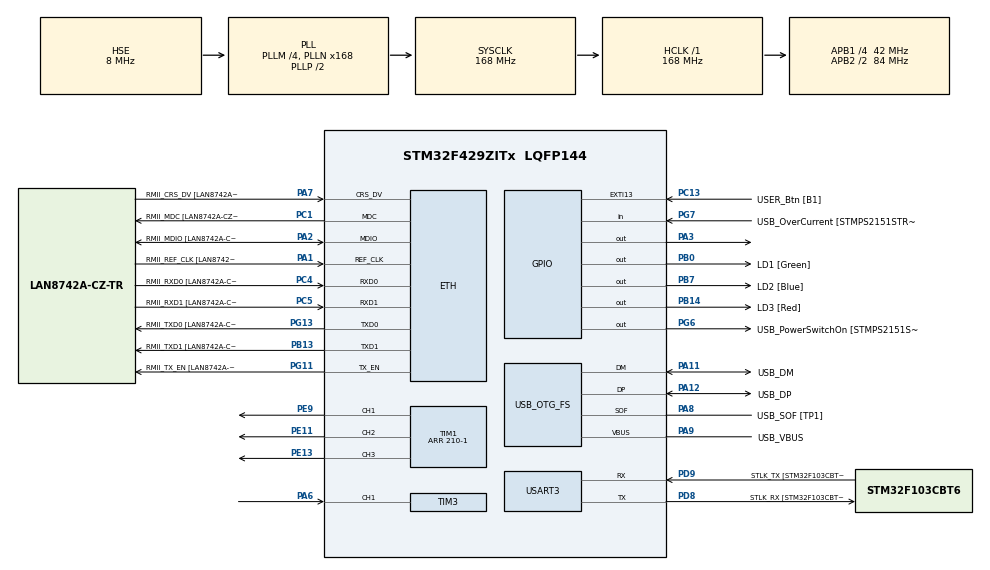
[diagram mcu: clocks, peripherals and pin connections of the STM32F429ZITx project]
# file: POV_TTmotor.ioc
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Dma.Request0=TIM1_CH1
Dma.Request1=TIM1_CH2
Dma.Request2=TIM1_CH3
Dma.TIM1_CH1.0.Direction=DMA_MEMORY_TO_PERIPH
Dma.TIM1_CH1.0.FIFOMode=DMA_FIFOMODE_DISABLE
Dma.TIM1_CH1.0.Instance=DMA2_Stream1
Dma.TIM1_CH1.0.MemDataAlignment=DMA_MDATAALIGN_HALFWORD
Dma.TIM1_CH1.0.MemInc=DMA_MINC_ENABLE
Dma.TIM1_CH1.0.Mode=DMA_NORMAL
Dma.TIM1_CH1.0.PeriphDataAlignment=DMA_PDATAALIGN_HALFWORD
Dma.TIM1_CH1.0.PeriphInc=DMA_PINC_DISABLE
Dma.TIM1_CH1.0.Priority=DMA_PRIORITY_LOW
Dma.TIM1_CH2.1.Direction=DMA_MEMORY_TO_PERIPH
Dma.TIM1_CH2.1.FIFOMode=DMA_FIFOMODE_DISABLE
Dma.TIM1_CH2.1.Instance=DMA2_Stream2
Dma.TIM1_CH2.1.MemDataAlignment=DMA_MDATAALIGN_HALFWORD
Dma.TIM1_CH2.1.MemInc=DMA_MINC_ENABLE
Dma.TIM1_CH2.1.Mode=DMA_NORMAL
Dma.TIM1_CH2.1.PeriphDataAlignment=DMA_PDATAALIGN_HALFWORD
Dma.TIM1_CH2.1.PeriphInc=DMA_PINC_DISABLE
Dma.TIM1_CH2.1.Priority=DMA_PRIORITY_LOW
Dma.TIM1_CH3.2.Direction=DMA_MEMORY_TO_PERIPH
Dma.TIM1_CH3.2.FIFOMode=DMA_FIFOMODE_DISABLE
Dma.TIM1_CH3.2.Instance=DMA2_Stream6
Dma.TIM1_CH3.2.MemDataAlignment=DMA_MDATAALIGN_HALFWORD
Dma.TIM1_CH3.2.MemInc=DMA_MINC_ENABLE
Dma.TIM1_CH3.2.Mode=DMA_NORMAL
Dma.TIM1_CH3.2.PeriphDataAlignment=DMA_PDATAALIGN_HALFWORD
Dma.TIM1_CH3.2.PeriphInc=DMA_PINC_DISABLE
Dma.TIM1_CH3.2.Priority=DMA_PRIORITY_LOW
ETH.MediaInterface=HAL_ETH_RMII_MODE
ETH.PHY_Name=LAN8742A_PHY_ADDRESS
ETH.PHY_Value=0
ETH.PhyAddress=0
Mcu.Family=STM32F4
Mcu.Name=STM32F429ZITx
Mcu.Package=LQFP144
NVIC.DMA2_Stream1_IRQn=true\:0\:0\:false\:false\:true\:false\:true\:true
NVIC.DMA2_Stream2_IRQn=true\:0\:0\:false\:false\:true\:false\:true\:true
NVIC.DMA2_Stream6_IRQn=true\:0\:0\:false\:false\:true\:false\:true\:true
NVIC.EXTI15_10_IRQn=true\:0\:0\:false\:false\:true\:true\:true\:true
NVIC.PriorityGroup=NVIC_PRIORITYGROUP_4
NVIC.TIM3_IRQn=true\:0\:0\:false\:false\:true\:true\:true\:true
PA1.GPIO_Label=RMII_REF_CLK [LAN8742A-CZ-TR_REFCLK0]
PA1.Mode=RMII
PA1.Signal=ETH_REF_CLK
PA10.GPIO_Label=USB_ID
PA10.Signal=USB_OTG_FS_ID
PA11.GPIO_Label=USB_DM
PA11.Mode=Device_Only
PA11.Signal=USB_OTG_FS_DM
PA12.GPIO_Label=USB_DP
PA12.Mode=Device_Only
PA12.Signal=USB_OTG_FS_DP
PA13.GPIO_Label=TMS
PA13.Mode=Serial_Wire
PA13.Signal=SYS_JTMS-SWDIO
PA14.GPIO_Label=TCK
PA14.Mode=Serial_Wire
PA14.Signal=SYS_JTCK-SWCLK
PA2.GPIO_Label=RMII_MDIO [LAN8742A-CZ-TR_MDIO]
PA2.Mode=RMII
PA2.Signal=ETH_MDIO
PA3.Signal=GPIO_Output
PA6.Signal=S_TIM3_CH1
PA7.GPIO_Label=RMII_CRS_DV [LAN8742A-CZ-TR_CRS_DV]
PA7.Mode=RMII
PA7.Signal=ETH_CRS_DV
PA8.GPIO_Label=USB_SOF [TP1]
PA8.Mode=Activate_SOF_FS
PA8.Signal=USB_OTG_FS_SOF
PA9.GPIO_Label=USB_VBUS
PA9.Mode=Activate_VBUS
PA9.Signal=USB_OTG_FS_VBUS
PB0.GPIO_Label=LD1 [Green]
PB0.Signal=GPIO_Output
PB13.GPIO_Label=RMII_TXD1 [LAN8742A-CZ-TR_TXD1]
PB13.Mode=RMII
PB13.Signal=ETH_TXD1
PB14.GPIO_Label=LD3 [Red]
PB14.Signal=GPIO_Output
PB7.GPIO_Label=LD2 [Blue]
PB7.Signal=GPIO_Output
PC1.GPIO_Label=RMII_MDC [LAN8742A-CZ-TR_MDC]
PC1.Mode=RMII
PC1.Signal=ETH_MDC
PC13.GPIO_Label=USER_Btn [B1]
PC13.GPIO_PuPd=GPIO_PULLDOWN
PC13.Signal=GPXTI13
PC14/OSC32_IN.Mode=LSE-External-Oscillator
PC14/OSC32_IN.Signal=RCC_OSC32_IN
PC15/OSC32_OUT.Mode=LSE-External-Oscillator
PC15/OSC32_OUT.Signal=RCC_OSC32_OUT
PC4.GPIO_Label=RMII_RXD0 [LAN8742A-CZ-TR_RXD0]
PC4.Mode=RMII
PC4.Signal=ETH_RXD0
PC5.GPIO_Label=RMII_RXD1 [LAN8742A-CZ-TR_RXD1]
PC5.Mode=RMII
PC5.Signal=ETH_RXD1
PD8.GPIO_Label=STLK_RX [STM32F103CBT6_PA3]
PD8.Mode=Asynchronous
PD8.Signal=USART3_TX
PD9.GPIO_Label=STLK_TX [STM32F103CBT6_PA2]
PD9.Mode=Asynchronous
PD9.Signal=USART3_RX
PE11.Signal=S_TIM1_CH2
PE13.Signal=S_TIM1_CH3
PE9.Signal=S_TIM1_CH1
PG11.GPIO_Label=RMII_TX_EN [LAN8742A-CZ-TR_TXEN]
PG11.Mode=RMII
PG11.Signal=ETH_TX_EN
PG13.GPIO_Label=RMII_TXD0 [LAN8742A-CZ-TR_TXD0]
PG13.Mode=RMII
PG13.Signal=ETH_TXD0
PG6.GPIO_Label=USB_PowerSwitchOn [STMPS2151STR_EN]
PG6.Signal=GPIO_Output
PG7.GPIO_Label=USB_OverCurrent [STMPS2151STR_FAULT]
PG7.Signal=GPIO_Input
PH0/OSC_IN.GPIO_Label=MCO [STM32F103CBT6_PA8]
PH0/OSC_IN.Mode=HSE-External-Clock-Source
PH0/OSC_IN.Signal=RCC_OSC_IN
PH1/OSC_OUT.Mode=HSE-External-Clock-Source
PH1/OSC_OUT.Signal=RCC_OSC_OUT
ProjectManager.HeapSize=0x200
ProjectManager.StackSize=0x400
ProjectManager.TargetToolchain=STM32CubeIDE
RCC.48MHZClocksFreq_Value=48000000
RCC.AHBFreq_Value=168000000
RCC.APB1CLKDivider=RCC_HCLK_DIV4
RCC.APB1Freq_Value=42000000
RCC.APB1TimFreq_Value=84000000
RCC.APB2CLKDivider=RCC_HCLK_DIV2
RCC.APB2Freq_Value=84000000
RCC.APB2TimCLKDivider=2
RCC.APB2TimFreq_Value=168000000
RCC.CortexFreq_Value=168000000
RCC.HCLKFreq_Value=168000000
RCC.HSE_VALUE=8000000
RCC.HSI_VALUE=16000000
RCC.PLLM=4
RCC.PLLMUL=RCC_PLL_MUL9
RCC.PLLN=168
RCC.PLLQ=7
RCC.PRESCALERUSB=RCC_USBCLKSOURCE_PLL_DIV1_5
RCC.SYSCLKFreq_VALUE=168000000
RCC.SYSCLKSource=RCC_SYSCLKSOURCE_PLLCLK
RCC.SYSCLKSourceVirtual=RCC_SYSCLKSOURCE_PLLCLK
RCC.USBFreq_Value=48000000
RCC.VCOOutputFreq_Value=336000000
SH.S_TIM1_CH1.0=TIM1_CH1,PWM Generation1 CH1
SH.S_TIM1_CH2.0=TIM1_CH2,PWM Generation2 CH2
SH.S_TIM1_CH3.0=TIM1_CH3,PWM Generation3 CH3
SH.S_TIM3_CH1.0=TIM3_CH1,PWM_Input_1
TIM1.Channel-PWM\ Generation1\ CH1=TIM_CHANNEL_1
TIM1.Channel-PWM\ Generation2\ CH2=TIM_CHANNEL_2
TIM1.Channel-PWM\ Generation3\ CH3=TIM_CHANNEL_3
TIM1.Period=210-1
TIM3.ICPolarity_1=TIM_INPUTCHANNELPOLARITY_FALLING
TIM3.Prescaler=840-1
USART3.VirtualMode=VM_ASYNC
USB_OTG_FS.VirtualMode=Device_Only
VP_TIM1_VS_ClockSourceINT.Mode=Internal
VP_TIM3_VS_ClockSourceINT.Mode=Internal
board=NUCLEO-F429ZI

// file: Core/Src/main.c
/* USER CODE BEGIN Header */
/**
  ******************************************************************************
  * @file           : main.c
  * @brief          : Main program body
  ******************************************************************************
  * @attention
  *
  * Copyright (c) 2022 STMicroelectronics.
  * All rights reserved.
  *
  * This software is licensed under terms that can be found in the LICENSE file
  * in the root directory of this software component.
  * If no LICENSE file comes with this software, it is provided AS-IS.
  *
  ******************************************************************************
  */
/* USER CODE END Header */
#include "main.h"
#include "string.h"

/* USER CODE BEGIN Includes */
#include <stdio.h>
#include <stdlib.h>
#include <inttypes.h>
#include "LEDData.h"
/* USER CODE END Includes */

/* USER CODE BEGIN PD */
//#define LED_NUM 25
#define LED_STRIPS 3
//#define LED_WIDTH 30
#define REQ_FREQ 50

#define LED_HIGH 151
#define LED_LOW 59
/* USER CODE END PD */

ETH_TxPacketConfig TxConfig;
ETH_DMADescTypeDef  DMARxDscrTab[ETH_RX_DESC_CNT]; /* Ethernet Rx DMA Descriptors */
ETH_DMADescTypeDef  DMATxDscrTab[ETH_TX_DESC_CNT]; /* Ethernet Tx DMA Descriptors */

 ETH_HandleTypeDef heth;

TIM_HandleTypeDef htim1;
TIM_HandleTypeDef htim3;
DMA_HandleTypeDef hdma_tim1_ch1;
DMA_HandleTypeDef hdma_tim1_ch2;
DMA_HandleTypeDef hdma_tim1_ch3;

UART_HandleTypeDef huart3;

PCD_HandleTypeDef hpcd_USB_OTG_FS;

/* USER CODE BEGIN PV */
int32_t ICValue = 0;
int loopTime = 0;
int ledOldTime = 0;
uint16_t PWMData[LED_STRIPS][24 * LED_NUM + 50];
uint32_t color = 0;
int cursor = 0;
int cursorInit = 0;
int loopCount = 0;
/* USER CODE END PV */

void SystemClock_Config(void);
static void MX_GPIO_Init(void);
static void MX_ETH_Init(void);
static void MX_USB_OTG_FS_PCD_Init(void);
static void MX_DMA_Init(void);
static void MX_TIM1_Init(void);
static void MX_USART3_UART_Init(void);
static void MX_TIM3_Init(void);

/* USER CODE BEGIN 0 */
int _write(int fd, char* ptr, int len) {
	HAL_UART_Transmit(&huart3, (uint8_t *) ptr, len, HAL_MAX_DELAY);
	return len;
}
int _read(int fd, char* ptr, int len) {
	HAL_UART_Receive(&huart3, (uint8_t *) ptr, 1, HAL_MAX_DELAY);
//	HAL_UART_Transmit(&huart3, (uint8_t *) ptr, 1, HAL_MAX_DELAY);
	return 1;
}

void HAL_TIM_IC_CaptureCallback(TIM_HandleTypeDef *htim){
	if(htim->Channel == HAL_TIM_ACTIVE_CHANNEL_1){
		if(htim->Instance == htim3.Instance){
//			HAL_GPIO_WritePin(GPIOB, GPIO_PIN_7, GPIO_PIN_SET);
			ICValue = HAL_TIM_ReadCapturedValue(htim, TIM_CHANNEL_1);
			if(ICValue){
				loopTime = (ICValue / 100) / (LED_WIDTH/LED_STRIPS);
				printf("%d\r\n", loopTime);

//				if(loopCount == 0)
//					cursor = cursorInit;
//				++loopCount;
//				loopCount %= LED_STRIPS;
			}
		}
	}
}

void HAL_GPIO_EXTI_Callback(uint16_t GPIO_Pin){
	if(GPIO_Pin == GPIO_PIN_13){
		cursorInit += (LED_WIDTH / LED_STRIPS) / 2;
		cursorInit %= LED_WIDTH;
	}
}
/* USER CODE END 0 */

int main(void)
{
  /* USER CODE BEGIN 1 */

	for(int i = 0; i < 24 * LED_NUM + 50; ++i){
		for(int j = 0; j < LED_STRIPS; ++j)
		PWMData[j][i] = 0;
	}

  /* USER CODE END 1 */

  /* MCU Configuration--------------------------------------------------------*/

  /* Reset of all peripherals, Initializes the Flash interface and the Systick. */
  HAL_Init();

  /* Configure the system clock */
  SystemClock_Config();

  /* Initialize all configured peripherals */
  MX_GPIO_Init();
  MX_ETH_Init();
  MX_USB_OTG_FS_PCD_Init();
  MX_DMA_Init();
  MX_TIM1_Init();
  MX_USART3_UART_Init();
  MX_TIM3_Init();
  /* USER CODE BEGIN 2 */
  HAL_TIM_IC_Start_IT(&htim3, TIM_CHANNEL_1);
  HAL_TIM_IC_Start(&htim3, TIM_CHANNEL_2);

//  CoreDebug->DEMCR |= CoreDebug_DEMCR_TRCENA_Msk;
//  DWT->CYCCNT = 0;
//  DWT->CTRL |= DWT_CTRL_CYCCNTENA_Msk;
  HAL_GPIO_WritePin(GPIOA, GPIO_PIN_3, GPIO_PIN_SET);
  HAL_Delay(3000);
  /* USER CODE END 2 */

  /* Infinite loop */
  while (1)
  {

    /* USER CODE BEGIN 3 */
//	  DWT->CYCCNT = 0;
	  ledOldTime = HAL_GetTick();

	  for(int m = 0; m < LED_STRIPS; ++m){
		  int indx = 0;
		  for(int i = 0; i < LED_NUM; ++i){
			  color = LEDData[(cursor + m*LED_WIDTH/LED_STRIPS)%LED_WIDTH][i][0] << 16;
			  color |= LEDData[(cursor + m*LED_WIDTH/LED_STRIPS)%LED_WIDTH][i][1] << 8;
			  color |= LEDData[(cursor + m*LED_WIDTH/LED_STRIPS)%LED_WIDTH][i][2];
			  for(int j = 23; j >= 0; --j){
				  if (color & (1 << j))
					  PWMData[m][indx] = LED_HIGH;
				  else
					  PWMData[m][indx] = LED_LOW;
				  ++indx;
			  }
		  }
	  }
	  HAL_TIM_PWM_Start_DMA(&htim1, TIM_CHANNEL_1, (uint32_t *)PWMData[0], 24 * LED_NUM + 50);
	  HAL_TIM_PWM_Start_DMA(&htim1, TIM_CHANNEL_2, (uint32_t *)PWMData[1], 24 * LED_NUM + 50);
	  HAL_TIM_PWM_Start_DMA(&htim1, TIM_CHANNEL_3, (uint32_t *)PWMData[2], 24 * LED_NUM + 50);

	  ++cursor;
	  cursor %= LED_WIDTH;
	  while(HAL_GetTick() < ledOldTime + loopTime);
  }
  /* USER CODE END 3 */
}

void SystemClock_Config(void)
{
  RCC_OscInitTypeDef RCC_OscInitStruct = {0};
  RCC_ClkInitTypeDef RCC_ClkInitStruct = {0};

  /** Configure the main internal regulator output voltage
  */
  __HAL_RCC_PWR_CLK_ENABLE();
  __HAL_PWR_VOLTAGESCALING_CONFIG(PWR_REGULATOR_VOLTAGE_SCALE1);

  /** Initializes the RCC Oscillators according to the specified parameters
  * in the RCC_OscInitTypeDef structure.
  */
  RCC_OscInitStruct.OscillatorType = RCC_OSCILLATORTYPE_HSE;
  RCC_OscInitStruct.HSEState = RCC_HSE_BYPASS;
  RCC_OscInitStruct.PLL.PLLState = RCC_PLL_ON;
  RCC_OscInitStruct.PLL.PLLSource = RCC_PLLSOURCE_HSE;
  RCC_OscInitStruct.PLL.PLLM = 4;
  RCC_OscInitStruct.PLL.PLLN = 168;
  RCC_OscInitStruct.PLL.PLLP = RCC_PLLP_DIV2;
  RCC_OscInitStruct.PLL.PLLQ = 7;
  if (HAL_RCC_OscConfig(&RCC_OscInitStruct) != HAL_OK)
  {
    Error_Handler();
  }

  /** Initializes the CPU, AHB and APB buses clocks
  */
  RCC_ClkInitStruct.ClockType = RCC_CLOCKTYPE_HCLK|RCC_CLOCKTYPE_SYSCLK
                              |RCC_CLOCKTYPE_PCLK1|RCC_CLOCKTYPE_PCLK2;
  RCC_ClkInitStruct.SYSCLKSource = RCC_SYSCLKSOURCE_PLLCLK;
  RCC_ClkInitStruct.AHBCLKDivider = RCC_SYSCLK_DIV1;
  RCC_ClkInitStruct.APB1CLKDivider = RCC_HCLK_DIV4;
  RCC_ClkInitStruct.APB2CLKDivider = RCC_HCLK_DIV2;

  if (HAL_RCC_ClockConfig(&RCC_ClkInitStruct, FLASH_LATENCY_5) != HAL_OK)
  {
    Error_Handler();
  }
}

static void MX_ETH_Init(void)
{

   static uint8_t MACAddr[6];

  heth.Instance = ETH;
  MACAddr[0] = 0x00;
  MACAddr[1] = 0x80;
  MACAddr[2] = 0xE1;
  MACAddr[3] = 0x00;
  MACAddr[4] = 0x00;
  MACAddr[5] = 0x00;
  heth.Init.MACAddr = &MACAddr[0];
  heth.Init.MediaInterface = HAL_ETH_RMII_MODE;
  heth.Init.TxDesc = DMATxDscrTab;
  heth.Init.RxDesc = DMARxDscrTab;
  heth.Init.RxBuffLen = 1524;

  if (HAL_ETH_Init(&heth) != HAL_OK)
  {
    Error_Handler();
  }

  memset(&TxConfig, 0 , sizeof(ETH_TxPacketConfig));
  TxConfig.Attributes = ETH_TX_PACKETS_FEATURES_CSUM | ETH_TX_PACKETS_FEATURES_CRCPAD;
  TxConfig.ChecksumCtrl = ETH_CHECKSUM_IPHDR_PAYLOAD_INSERT_PHDR_CALC;
  TxConfig.CRCPadCtrl = ETH_CRC_PAD_INSERT;

}

static void MX_TIM1_Init(void)
{

  TIM_ClockConfigTypeDef sClockSourceConfig = {0};
  TIM_MasterConfigTypeDef sMasterConfig = {0};
  TIM_OC_InitTypeDef sConfigOC = {0};
  TIM_BreakDeadTimeConfigTypeDef sBreakDeadTimeConfig = {0};

  htim1.Instance = TIM1;
  htim1.Init.Prescaler = 0;
  htim1.Init.CounterMode = TIM_COUNTERMODE_UP;
  htim1.Init.Period = 210-1;
  htim1.Init.ClockDivision = TIM_CLOCKDIVISION_DIV1;
  htim1.Init.RepetitionCounter = 0;
  htim1.Init.AutoReloadPreload = TIM_AUTORELOAD_PRELOAD_DISABLE;
  if (HAL_TIM_Base_Init(&htim1) != HAL_OK)
  {
    Error_Handler();
  }
  sClockSourceConfig.ClockSource = TIM_CLOCKSOURCE_INTERNAL;
  if (HAL_TIM_ConfigClockSource(&htim1, &sClockSourceConfig) != HAL_OK)
  {
    Error_Handler();
  }
  if (HAL_TIM_PWM_Init(&htim1) != HAL_OK)
  {
    Error_Handler();
  }
  sMasterConfig.MasterOutputTrigger = TIM_TRGO_RESET;
  sMasterConfig.MasterSlaveMode = TIM_MASTERSLAVEMODE_DISABLE;
  if (HAL_TIMEx_MasterConfigSynchronization(&htim1, &sMasterConfig) != HAL_OK)
  {
    Error_Handler();
  }
  sConfigOC.OCMode = TIM_OCMODE_PWM1;
  sConfigOC.Pulse = 0;
  sConfigOC.OCPolarity = TIM_OCPOLARITY_HIGH;
  sConfigOC.OCNPolarity = TIM_OCNPOLARITY_HIGH;
  sConfigOC.OCFastMode = TIM_OCFAST_DISABLE;
  sConfigOC.OCIdleState = TIM_OCIDLESTATE_RESET;
  sConfigOC.OCNIdleState = TIM_OCNIDLESTATE_RESET;
  if (HAL_TIM_PWM_ConfigChannel(&htim1, &sConfigOC, TIM_CHANNEL_1) != HAL_OK)
  {
    Error_Handler();
  }
  if (HAL_TIM_PWM_ConfigChannel(&htim1, &sConfigOC, TIM_CHANNEL_2) != HAL_OK)
  {
    Error_Handler();
  }
  if (HAL_TIM_PWM_ConfigChannel(&htim1, &sConfigOC, TIM_CHANNEL_3) != HAL_OK)
  {
    Error_Handler();
  }
  sBreakDeadTimeConfig.OffStateRunMode = TIM_OSSR_DISABLE;
  sBreakDeadTimeConfig.OffStateIDLEMode = TIM_OSSI_DISABLE;
  sBreakDeadTimeConfig.LockLevel = TIM_LOCKLEVEL_OFF;
  sBreakDeadTimeConfig.DeadTime = 0;
  sBreakDeadTimeConfig.BreakState = TIM_BREAK_DISABLE;
  sBreakDeadTimeConfig.BreakPolarity = TIM_BREAKPOLARITY_HIGH;
  sBreakDeadTimeConfig.AutomaticOutput = TIM_AUTOMATICOUTPUT_DISABLE;
  if (HAL_TIMEx_ConfigBreakDeadTime(&htim1, &sBreakDeadTimeConfig) != HAL_OK)
  {
    Error_Handler();
  }
  HAL_TIM_MspPostInit(&htim1);

}

static void MX_TIM3_Init(void)
{

  TIM_ClockConfigTypeDef sClockSourceConfig = {0};
  TIM_SlaveConfigTypeDef sSlaveConfig = {0};
  TIM_IC_InitTypeDef sConfigIC = {0};
  TIM_MasterConfigTypeDef sMasterConfig = {0};

  htim3.Instance = TIM3;
  htim3.Init.Prescaler = 840-1;
  htim3.Init.CounterMode = TIM_COUNTERMODE_UP;
  htim3.Init.Period = 65535;
  htim3.Init.ClockDivision = TIM_CLOCKDIVISION_DIV1;
  htim3.Init.AutoReloadPreload = TIM_AUTORELOAD_PRELOAD_DISABLE;
  if (HAL_TIM_Base_Init(&htim3) != HAL_OK)
  {
    Error_Handler();
  }
  sClockSourceConfig.ClockSource = TIM_CLOCKSOURCE_INTERNAL;
  if (HAL_TIM_ConfigClockSource(&htim3, &sClockSourceConfig) != HAL_OK)
  {
    Error_Handler();
  }
  if (HAL_TIM_IC_Init(&htim3) != HAL_OK)
  {
    Error_Handler();
  }
  sSlaveConfig.SlaveMode = TIM_SLAVEMODE_RESET;
  sSlaveConfig.InputTrigger = TIM_TS_TI1FP1;
  sSlaveConfig.TriggerPolarity = TIM_INPUTCHANNELPOLARITY_FALLING;
  sSlaveConfig.TriggerPrescaler = TIM_ICPSC_DIV1;
  sSlaveConfig.TriggerFilter = 0;
  if (HAL_TIM_SlaveConfigSynchro(&htim3, &sSlaveConfig) != HAL_OK)
  {
    Error_Handler();
  }
  sConfigIC.ICPolarity = TIM_INPUTCHANNELPOLARITY_FALLING;
  sConfigIC.ICSelection = TIM_ICSELECTION_DIRECTTI;
  sConfigIC.ICPrescaler = TIM_ICPSC_DIV1;
  sConfigIC.ICFilter = 0;
  if (HAL_TIM_IC_ConfigChannel(&htim3, &sConfigIC, TIM_CHANNEL_1) != HAL_OK)
  {
    Error_Handler();
  }
  sConfigIC.ICPolarity = TIM_INPUTCHANNELPOLARITY_RISING;
  sConfigIC.ICSelection = TIM_ICSELECTION_INDIRECTTI;
  if (HAL_TIM_IC_ConfigChannel(&htim3, &sConfigIC, TIM_CHANNEL_2) != HAL_OK)
  {
    Error_Handler();
  }
  sMasterConfig.MasterOutputTrigger = TIM_TRGO_RESET;
  sMasterConfig.MasterSlaveMode = TIM_MASTERSLAVEMODE_DISABLE;
  if (HAL_TIMEx_MasterConfigSynchronization(&htim3, &sMasterConfig) != HAL_OK)
  {
    Error_Handler();
  }

}

static void MX_USART3_UART_Init(void)
{

  huart3.Instance = USART3;
  huart3.Init.BaudRate = 115200;
  huart3.Init.WordLength = UART_WORDLENGTH_8B;
  huart3.Init.StopBits = UART_STOPBITS_1;
  huart3.Init.Parity = UART_PARITY_NONE;
  huart3.Init.Mode = UART_MODE_TX_RX;
  huart3.Init.HwFlowCtl = UART_HWCONTROL_NONE;
  huart3.Init.OverSampling = UART_OVERSAMPLING_16;
  if (HAL_UART_Init(&huart3) != HAL_OK)
  {
    Error_Handler();
  }

}

static void MX_USB_OTG_FS_PCD_Init(void)
{

  hpcd_USB_OTG_FS.Instance = USB_OTG_FS;
  hpcd_USB_OTG_FS.Init.dev_endpoints = 4;
  hpcd_USB_OTG_FS.Init.speed = PCD_SPEED_FULL;
  hpcd_USB_OTG_FS.Init.dma_enable = DISABLE;
  hpcd_USB_OTG_FS.Init.phy_itface = PCD_PHY_EMBEDDED;
  hpcd_USB_OTG_FS.Init.Sof_enable = ENABLE;
  hpcd_USB_OTG_FS.Init.low_power_enable = DISABLE;
  hpcd_USB_OTG_FS.Init.lpm_enable = DISABLE;
  hpcd_USB_OTG_FS.Init.vbus_sensing_enable = ENABLE;
  hpcd_USB_OTG_FS.Init.use_dedicated_ep1 = DISABLE;
  if (HAL_PCD_Init(&hpcd_USB_OTG_FS) != HAL_OK)
  {
    Error_Handler();
  }

}

static void MX_DMA_Init(void)
{

  /* DMA controller clock enable */
  __HAL_RCC_DMA2_CLK_ENABLE();

  /* DMA interrupt init */
  /* DMA2_Stream1_IRQn interrupt configuration */
  HAL_NVIC_SetPriority(DMA2_Stream1_IRQn, 0, 0);
  HAL_NVIC_EnableIRQ(DMA2_Stream1_IRQn);
  /* DMA2_Stream2_IRQn interrupt configuration */
  HAL_NVIC_SetPriority(DMA2_Stream2_IRQn, 0, 0);
  HAL_NVIC_EnableIRQ(DMA2_Stream2_IRQn);
  /* DMA2_Stream6_IRQn interrupt configuration */
  HAL_NVIC_SetPriority(DMA2_Stream6_IRQn, 0, 0);
  HAL_NVIC_EnableIRQ(DMA2_Stream6_IRQn);

}

static void MX_GPIO_Init(void)
{
  GPIO_InitTypeDef GPIO_InitStruct = {0};

  /* GPIO Ports Clock Enable */
  __HAL_RCC_GPIOC_CLK_ENABLE();
  __HAL_RCC_GPIOH_CLK_ENABLE();
  __HAL_RCC_GPIOA_CLK_ENABLE();
  __HAL_RCC_GPIOB_CLK_ENABLE();
  __HAL_RCC_GPIOE_CLK_ENABLE();
  __HAL_RCC_GPIOD_CLK_ENABLE();
  __HAL_RCC_GPIOG_CLK_ENABLE();

  /*Configure GPIO pin Output Level */
  HAL_GPIO_WritePin(GPIOA, GPIO_PIN_3, GPIO_PIN_RESET);

  /*Configure GPIO pin Output Level */
  HAL_GPIO_WritePin(GPIOB, LD1_Pin|LD3_Pin|LD2_Pin, GPIO_PIN_RESET);

  /*Configure GPIO pin Output Level */
  HAL_GPIO_WritePin(USB_PowerSwitchOn_GPIO_Port, USB_PowerSwitchOn_Pin, GPIO_PIN_RESET);

  /*Configure GPIO pin : USER_Btn_Pin */
  GPIO_InitStruct.Pin = USER_Btn_Pin;
  GPIO_InitStruct.Mode = GPIO_MODE_IT_RISING;
  GPIO_InitStruct.Pull = GPIO_PULLDOWN;
  HAL_GPIO_Init(USER_Btn_GPIO_Port, &GPIO_InitStruct);

  /*Configure GPIO pin : PA3 */
  GPIO_InitStruct.Pin = GPIO_PIN_3;
  GPIO_InitStruct.Mode = GPIO_MODE_OUTPUT_PP;
  GPIO_InitStruct.Pull = GPIO_NOPULL;
  GPIO_InitStruct.Speed = GPIO_SPEED_FREQ_LOW;
  HAL_GPIO_Init(GPIOA, &GPIO_InitStruct);

  /*Configure GPIO pins : LD1_Pin LD3_Pin LD2_Pin */
  GPIO_InitStruct.Pin = LD1_Pin|LD3_Pin|LD2_Pin;
  GPIO_InitStruct.Mode = GPIO_MODE_OUTPUT_PP;
  GPIO_InitStruct.Pull = GPIO_NOPULL;
  GPIO_InitStruct.Speed = GPIO_SPEED_FREQ_LOW;
  HAL_GPIO_Init(GPIOB, &GPIO_InitStruct);

  /*Configure GPIO pin : USB_PowerSwitchOn_Pin */
  GPIO_InitStruct.Pin = USB_PowerSwitchOn_Pin;
  GPIO_InitStruct.Mode = GPIO_MODE_OUTPUT_PP;
  GPIO_InitStruct.Pull = GPIO_NOPULL;
  GPIO_InitStruct.Speed = GPIO_SPEED_FREQ_LOW;
  HAL_GPIO_Init(USB_PowerSwitchOn_GPIO_Port, &GPIO_InitStruct);

  /*Configure GPIO pin : USB_OverCurrent_Pin */
  GPIO_InitStruct.Pin = USB_OverCurrent_Pin;
  GPIO_InitStruct.Mode = GPIO_MODE_INPUT;
  GPIO_InitStruct.Pull = GPIO_NOPULL;
  HAL_GPIO_Init(USB_OverCurrent_GPIO_Port, &GPIO_InitStruct);

  /* EXTI interrupt init*/
  HAL_NVIC_SetPriority(EXTI15_10_IRQn, 0, 0);
  HAL_NVIC_EnableIRQ(EXTI15_10_IRQn);

}

void Error_Handler(void)
{
  __disable_irq();
  while (1)
  {
  }
}
